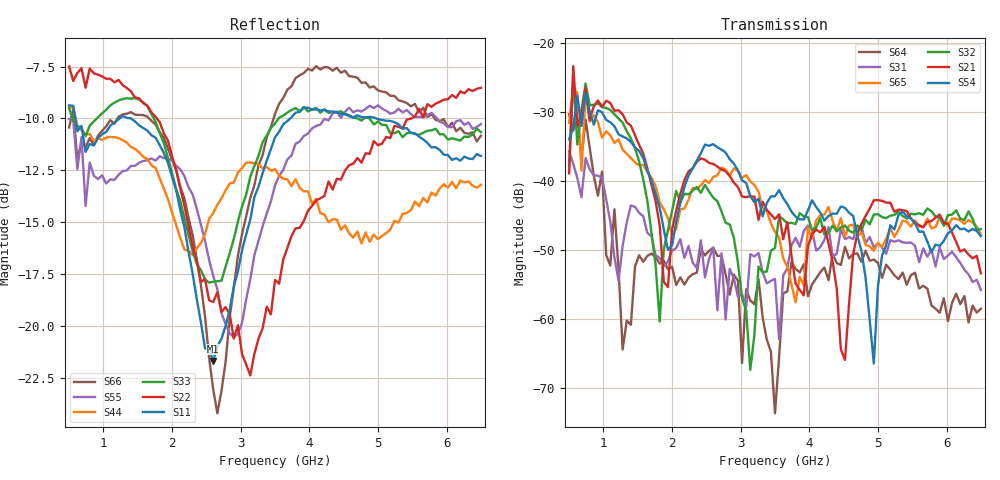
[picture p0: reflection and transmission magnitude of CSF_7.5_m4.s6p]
!Keysight Technologies,M9804A,MY58100912,A.14.10.03
!Date: Thursday, April 27, 2023 10:28:33
!Correction: S11(C  6-Port  )
!S12(C  6-Port  )
!S13(C  6-Port  )
!S14(C  6-Port  )
!S15(C  6-Port  )
!S16(C  6-Port  )
!S21(C  6-Port  )
!S22(C  6-Port  )
!S23(C  6-Port  )
!S24(C  6-Port  )
!S25(C  6-Port  )
!S26(C  6-Port  )
!S31(C  6-Port  )
!S32(C  6-Port  )
!S33(C  6-Port  )
!S34(C  6-Port  )
!S35(C  6-Port  )
!S36(C  6-Port  )
!S41(C  6-Port  )
!S42(C  6-Port  )
!S43(C  6-Port  )
!S44(C  6-Port  )
!S45(C  6-Port  )
!S46(C  6-Port  )
!S51(C  6-Port  )
!S52(C  6-Port  )
!S53(C  6-Port  )
!S54(C  6-Port  )
!S55(C  6-Port  )
!S56(C  6-Port  )
!S61(C  6-Port  )
!S62(C  6-Port  )
!S63(C  6-Port  )
!S64(C  6-Port  )
!S65(C  6-Port  )
!S66(C  6-Port  )
!S6P File: Measurement: :
# Hz S  RI  R 50
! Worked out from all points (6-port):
!   101 points, 500 MHz to 6.5 GHz, reference 50 ohm
!   strongest paths, dB at 500 MHz, 2 GHz, 3.5 GHz, 5 GHz, 6.5 GHz:
!     S54: -34.0, -49.3, -42.2, -55.3, -48.0
!     S21: -38.9, -47.1, -45.5, -42.8, -53.4
!     S32: -37.8, -44.3, -49.7, -44.8, -47.0
!     S65: -31.6, -47.9, -47.4, -49.0, -47.8
!     S31: -35.7, -50.1, -54.2, -49.0, -55.8
!     S64: -30.3, -52.4, -73.7, -51.9, -58.5
!   lowest |S11| = -21.7 dB at 2.6 GHz (marker M1), VSWR 1.18, Z = 42.7 + j2.09 ohm
!   |S11| at or under -10 dB: 589.8 MHz to 1.237 GHz (646.9 MHz wide, 70.8 % of centre); 1.401 GHz to 3.723 GHz (2.322 GHz wide, 90.6 % of centre); 4.972 GHz to end of sweep
